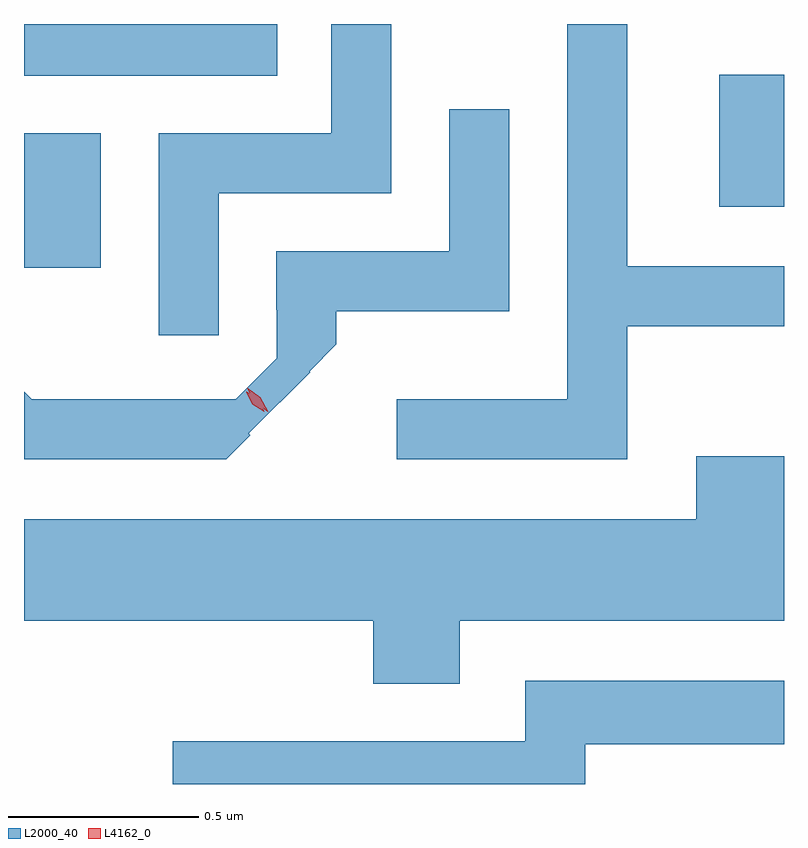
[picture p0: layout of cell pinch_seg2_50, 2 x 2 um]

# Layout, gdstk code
import gdstk
lib = gdstk.Library(unit=1e-6, precision=1e-09)
def R(c, l, rs):  # rectangles x0, y0, x1, y1
    for r in rs: c.add(gdstk.rectangle(r[:2], r[2:], *l))
def P(c, l, *ps):  # polygons
    for p in ps: c.add(gdstk.Polygon(p, *l))
L2000_40 = (2000, 40)
L4162_0 = (4162, 0)

pinch_seg2_50 = lib.new_cell('pinch_seg2_50')
R(pinch_seg2_50, L2000_40, [(1218.732,1049.246,1218.934,1049.599), (1220.561,1049.406,1220.732,1049.754), (1218.732,1049.751,1219.398,1049.887)])
P(pinch_seg2_50, L2000_40, [(1219.244,1049.441),(1219.699,1049.441),(1219.699,1049.887),(1219.541,1049.887),(1219.541,1049.599),(1219.086,1049.599),(1219.086,1049.068),(1219.244,1049.068)],
  [(1220.319,1049.091),(1220.732,1049.091),(1220.732,1049.249),(1220.319,1049.249),(1220.319,1049.887),(1220.161,1049.887),(1220.161,1048.899),(1219.713,1048.899),(1219.713,1048.741),(1220.319,1048.741)],
  [(1219.328,1048.805),(1219.324,1048.81),(1219.485,1048.971),(1219.484,1048.973),(1219.554,1049.044),(1219.554,1049.131),(1220.009,1049.131),(1220.009,1049.663),(1219.851,1049.663),(1219.851,1049.289),(1219.396,1049.289),(1219.396,1049.135),(1219.397,1049.135),(1219.397,1049.007),(1219.289,1048.899),(1218.752,1048.899),(1218.732,1048.919),(1218.732,1048.741),(1219.264,1048.741)],
  [(1219.879,1048.316),(1220.732,1048.316),(1220.732,1048.749),(1220.501,1048.749),(1220.501,1048.584),(1218.732,1048.584),(1218.732,1048.316),(1219.651,1048.316),(1219.651,1048.151),(1219.879,1048.151)],
  [(1220.209,1047.991),(1220.732,1047.991),(1220.732,1048.159),(1220.051,1048.159),(1220.051,1047.999),(1219.123,1047.999),(1219.123,1047.887),(1220.209,1047.887)])
P(pinch_seg2_50, L4162_0, [(1219.374,1048.866),(1219.339,1048.891),(1219.319,1048.929),(1219.319,1048.93),(1219.32,1048.93),(1219.354,1048.905),(1219.375,1048.867),(1219.375,1048.866)],
  [(1219.364,1048.866),(1219.333,1048.886),(1219.317,1048.919),(1219.317,1048.919),(1219.318,1048.919),(1219.348,1048.899),(1219.364,1048.866),(1219.364,1048.866)])

lib.write_gds('pinch_seg2_50.gds')
